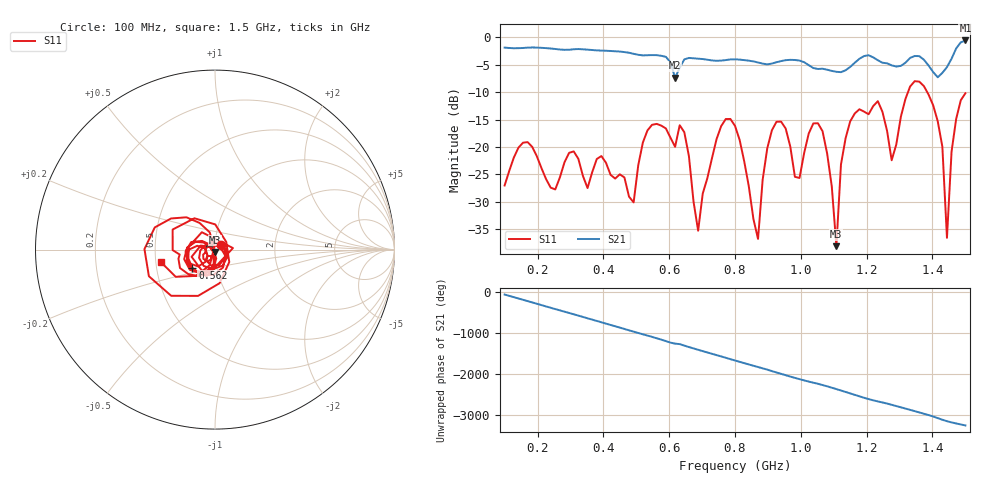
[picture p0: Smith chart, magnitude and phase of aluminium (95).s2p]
! NanoVNA-App
! Date: 2025-09-25 14:56:01
! Start: 100MHz Stop: 1,5GHz Points: 101
! S-Parameter data: F S11 S21 S12 S22
# Hz S RI R 50
!  Frequency  S11_Real  S11_Imag  S21_Real  S21_Imag  S12_Real  S12_Imag  S22_Real  S22_Imag
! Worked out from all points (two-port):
!   101 points, 100 MHz to 1.5 GHz, reference 50 ohm
!   highest |S21| = -0.62 dB at 1.5 GHz (marker M1); lowest = -7.4 dB at 618 MHz (marker M2)
!   |S21| within 3 dB of the highest: start of sweep to 590.3 MHz; 1.46 GHz to end of sweep (the widest 2 of 4)
!   lowest |S11| = -38.0 dB at 1.108 GHz (marker M3), VSWR 1.03, Z = 50.1 - j1.25 ohm
!   |S11| at or under -10 dB: start of sweep to 1.326 GHz; 1.384 GHz to end of sweep
!   S12 and S22 are empty: the file has one direction only
!   S11 on the Smith chart (normalised r, x): 100 MHz: 1.07, +0.06; 562 MHz: 0.76, -0.16; 1.5 GHz: 0.53, -0.08
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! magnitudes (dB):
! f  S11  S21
! 100 MHz  -27.0  -1.9
! 338 MHz  -25.3  -2.2
! 492 MHz  -30.1  -3.0
! 562 MHz  -15.8  -3.3
! 576 MHz  -16.1  -3.4
! 618 MHz  -20.0  -7.4
! 646 MHz  -17.3  -4.1
! 688 MHz  -35.2  -3.9
! 800 MHz  -16.1  -4.1
! 870 MHz  -36.7  -4.6
! 912 MHz  -17.0  -4.8
! 996 MHz  -25.6  -4.3
! 1.038 GHz  -15.7  -5.6
! 1.108 GHz  -38.0  -6.3
! 1.122 GHz  -23.2  -6.4
! 1.164 GHz  -13.9  -4.7
! 1.276 GHz  -22.4  -5.1
! 1.374 GHz  -8.9  -4.1
! 1.43 GHz  -19.9  -6.5
! 1.444 GHz  -36.5  -5.5
! 1.458 GHz  -20.8  -3.9
! 1.5 GHz  -10.2  -0.6
